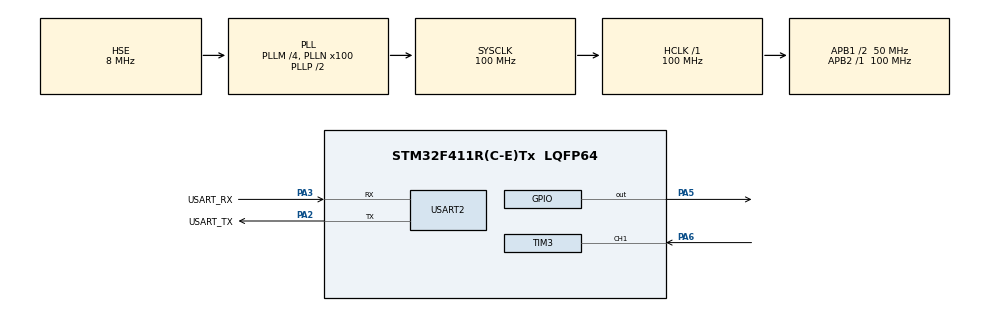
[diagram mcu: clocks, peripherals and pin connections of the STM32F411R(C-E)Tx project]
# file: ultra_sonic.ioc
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Mcu.Family=STM32F4
Mcu.Name=STM32F411R(C-E)Tx
Mcu.Package=LQFP64
NVIC.PriorityGroup=NVIC_PRIORITYGROUP_0
NVIC.TIM3_IRQn=true\:0\:0\:false\:false\:true\:true\:true\:true
NVIC.USART2_IRQn=true\:0\:0\:false\:false\:true\:true\:true\:true
PA13.GPIO_Label=TMS
PA13.Mode=Serial_Wire
PA13.Signal=SYS_JTMS-SWDIO
PA14.GPIO_Label=TCK
PA14.Mode=Serial_Wire
PA14.Signal=SYS_JTCK-SWCLK
PA2.GPIO_Label=USART_TX
PA2.Mode=Asynchronous
PA2.Signal=USART2_TX
PA3.GPIO_Label=USART_RX
PA3.Mode=Asynchronous
PA3.Signal=USART2_RX
PA5.GPIO_Speed=GPIO_SPEED_FREQ_HIGH
PA5.Signal=GPIO_Output
PA6.Signal=S_TIM3_CH1
PH0\ -\ OSC_IN.Mode=HSE-External-Oscillator
PH0\ -\ OSC_IN.Signal=RCC_OSC_IN
PH1\ -\ OSC_OUT.Mode=HSE-External-Oscillator
PH1\ -\ OSC_OUT.Signal=RCC_OSC_OUT
ProjectManager.HeapSize=0x200
ProjectManager.StackSize=0x400
ProjectManager.TargetToolchain=STM32CubeIDE
RCC.48MHZClocksFreq_Value=50000000
RCC.AHBFreq_Value=100000000
RCC.APB1CLKDivider=RCC_HCLK_DIV2
RCC.APB1Freq_Value=50000000
RCC.APB1TimFreq_Value=100000000
RCC.APB2Freq_Value=100000000
RCC.APB2TimFreq_Value=100000000
RCC.CortexFreq_Value=100000000
RCC.FLatency-AdvancedSettings=FLASH_LATENCY_3
RCC.HCLKFreq_Value=100000000
RCC.HSE_VALUE=8000000
RCC.HSI_VALUE=16000000
RCC.LSE_VALUE=32768
RCC.PLLM=4
RCC.PLLN=100
RCC.PLLSourceVirtual=RCC_PLLSOURCE_HSE
RCC.SYSCLKFreq_VALUE=100000000
RCC.SYSCLKSource=RCC_SYSCLKSOURCE_PLLCLK
RCC.VCOOutputFreq_Value=200000000
SH.S_TIM3_CH1.0=TIM3_CH1,Input_Capture1_from_TI1
TIM3.Channel-Input_Capture1_from_TI1=TIM_CHANNEL_1
TIM3.Prescaler=100-1
USART2.VirtualMode=VM_ASYNC
VP_TIM3_VS_ClockSourceINT.Mode=Internal
board=NUCLEO-F411RE

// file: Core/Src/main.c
/* USER CODE BEGIN Header */
/**
 ******************************************************************************
 * @file           : main.c
 * @brief          : Main program body
 ******************************************************************************
 * @attention
 *
 * Copyright (c) 2025 STMicroelectronics.
 * All rights reserved.
 *
 * This software is licensed under terms that can be found in the LICENSE file
 * in the root directory of this software component.
 * If no LICENSE file comes with this software, it is provided AS-IS.
 *
 ******************************************************************************
 */
/* USER CODE END Header */
#include "main.h"
#include "tim.h"
#include "usart.h"
#include "gpio.h"
#include <stdio.h>
/* USER CODE BEGIN Includes */
#include "DELAYUS.h"
/* USER CODE END Includes */

/* USER CODE BEGIN PD */

#define TRIG_PORT GPIOA
#define TRIG_PIN  GPIO_PIN_5

/* USER CODE END PD */

/* USER CODE BEGIN PM */

//printf 사용하기 위한 코드
#ifdef __GNUC__
  /* With GCC, small printf (option LD Linker->Libraries->Small printf set to 'Yes') calls __io_putchar() */
  #define PUTCHAR_PROTOTYPE int __io_putchar(int ch)
#else
  #define PUTCHAR_PROTOTYPE int fputc(int ch, FILE *f)
#endif /* __GNUC__ */
PUTCHAR_PROTOTYPE
{
  /* Place your implementation of fputc here */
  /* e.g. write a character to the EVAL_COM1 and Loop until the end of transmission */
  //uart2번 사용했기 때문에 설정
  HAL_UART_Transmit(&huart2, (uint8_t *)&ch, 1, 0xFFFF);

  return ch;
}

/* USER CODE END PM */

/* USER CODE BEGIN PV */

uint16_t IC_ValueRising = 0;//켜질 때 체크
uint16_t IC_ValueFalling = 0;//꺼질 때 체크
uint16_t captureTime = 0;
uint8_t  captureFlag = 0;
uint8_t  distance = 0;

/* USER CODE END PV */

void SystemClock_Config(void);
/* USER CODE BEGIN PFP */

void HCSR04_Read(void)//트리거 던지는 함수
{
  //트리거 신호 보내줌
  HAL_GPIO_WritePin(TRIG_PORT, TRIG_PIN, 0);//초기화용
  delay_us(1);
  HAL_GPIO_WritePin(TRIG_PORT, TRIG_PIN, 1);
  delay_us(10);
  HAL_GPIO_WritePin(TRIG_PORT, TRIG_PIN, 0);

  //인에이블
  __HAL_TIM_ENABLE_IT(&htim3,TIM_CHANNEL_1);
}

void HAL_TIM_IC_CaptureCallback(TIM_HandleTypeDef *htim)
{
  //인풋캡쳐가 생기면
  if(htim->Channel == HAL_TIM_ACTIVE_CHANNEL_1)
  {
    //캡쳐를 한번도 안했다면
    if(captureFlag == 0)
    {
      IC_ValueRising = HAL_TIM_ReadCapturedValue(htim, TIM_CHANNEL_1);//rising일 때 캡쳐값 가져옴
      captureFlag = 1; //캡쳐 완료
      __HAL_TIM_SET_CAPTUREPOLARITY(htim,TIM_CHANNEL_1, TIM_INPUTCHANNELPOLARITY_FALLING);
    }
    else if(captureFlag == 1)//캡쳐를 했다면
    {
      IC_ValueFalling = HAL_TIM_ReadCapturedValue(htim, TIM_CHANNEL_1);//falling일 때 캡쳐값 가져옴
      captureFlag = 0;
      __HAL_TIM_SET_COUNTER(htim, 0);

      if(IC_ValueFalling > IC_ValueRising)
      {
        captureTime = IC_ValueFalling - IC_ValueRising;
      }
      else if(IC_ValueFalling < IC_ValueRising)
      {
        captureTime = (0xffff - IC_ValueRising) + IC_ValueFalling;
      }

      distance = captureTime / 58;
      __HAL_TIM_SET_CAPTUREPOLARITY(htim,TIM_CHANNEL_1, TIM_INPUTCHANNELPOLARITY_RISING);

      //인에이블
      __HAL_TIM_ENABLE_IT(&htim3,TIM_CHANNEL_1);
    }

  }

}

/* USER CODE END PFP */

int main(void)
{

  /* MCU Configuration--------------------------------------------------------*/

  /* Reset of all peripherals, Initializes the Flash interface and the Systick. */
  HAL_Init();

  /* Configure the system clock */
  SystemClock_Config();

  /* Initialize all configured peripherals */
  MX_GPIO_Init();
  MX_USART2_UART_Init();
  MX_TIM3_Init();
  /* USER CODE BEGIN 2 */

  HAL_TIM_Base_Start(&htim3);//delay용
  HAL_TIM_IC_Start_IT(&htim3, TIM_CHANNEL_1);//울트라소닉용

  /* USER CODE END 2 */

  /* Infinite loop */
  /* USER CODE BEGIN WHILE */
  while (1)
  {
    HCSR04_Read();
    printf(" %d cm\r\n",distance);
    HAL_Delay(500);

    /* USER CODE END WHILE */

  }
}

void SystemClock_Config(void)
{
  RCC_OscInitTypeDef RCC_OscInitStruct = {0};
  RCC_ClkInitTypeDef RCC_ClkInitStruct = {0};

  /** Configure the main internal regulator output voltage
   */
  __HAL_RCC_PWR_CLK_ENABLE();
  __HAL_PWR_VOLTAGESCALING_CONFIG(PWR_REGULATOR_VOLTAGE_SCALE1);

  /** Initializes the RCC Oscillators according to the specified parameters
   * in the RCC_OscInitTypeDef structure.
   */
  RCC_OscInitStruct.OscillatorType = RCC_OSCILLATORTYPE_HSE;
  RCC_OscInitStruct.HSEState = RCC_HSE_ON;
  RCC_OscInitStruct.PLL.PLLState = RCC_PLL_ON;
  RCC_OscInitStruct.PLL.PLLSource = RCC_PLLSOURCE_HSE;
  RCC_OscInitStruct.PLL.PLLM = 4;
  RCC_OscInitStruct.PLL.PLLN = 100;
  RCC_OscInitStruct.PLL.PLLP = RCC_PLLP_DIV2;
  RCC_OscInitStruct.PLL.PLLQ = 4;
  if (HAL_RCC_OscConfig(&RCC_OscInitStruct) != HAL_OK)
  {
    Error_Handler();
  }

  /** Initializes the CPU, AHB and APB buses clocks
   */
  RCC_ClkInitStruct.ClockType = RCC_CLOCKTYPE_HCLK|RCC_CLOCKTYPE_SYSCLK
      |RCC_CLOCKTYPE_PCLK1|RCC_CLOCKTYPE_PCLK2;
  RCC_ClkInitStruct.SYSCLKSource = RCC_SYSCLKSOURCE_PLLCLK;
  RCC_ClkInitStruct.AHBCLKDivider = RCC_SYSCLK_DIV1;
  RCC_ClkInitStruct.APB1CLKDivider = RCC_HCLK_DIV2;
  RCC_ClkInitStruct.APB2CLKDivider = RCC_HCLK_DIV1;

  if (HAL_RCC_ClockConfig(&RCC_ClkInitStruct, FLASH_LATENCY_3) != HAL_OK)
  {
    Error_Handler();
  }
}

void Error_Handler(void)
{
  __disable_irq();
  while (1)
  {
  }
}
